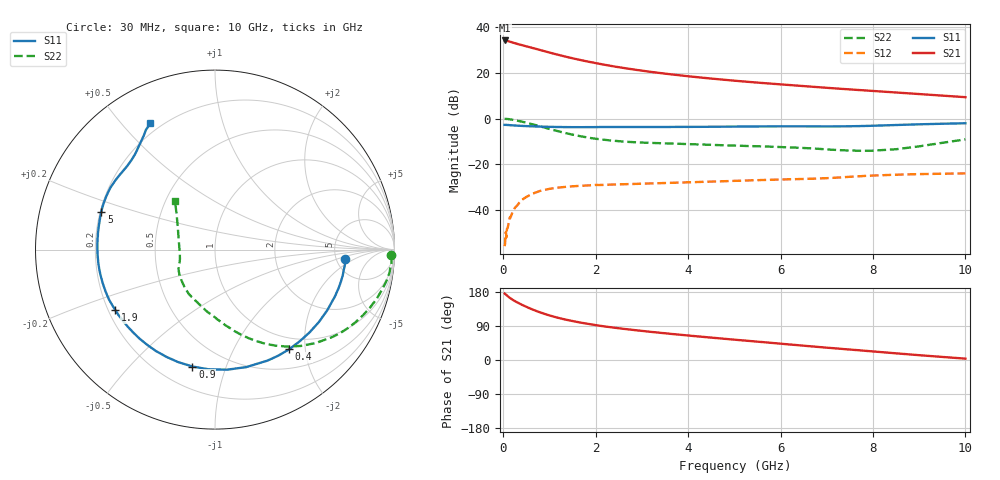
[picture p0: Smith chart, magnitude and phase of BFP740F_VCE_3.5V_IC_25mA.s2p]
! Infineon Technologies  Discrete & RF Semiconductors
! BFP740F
! VCE =  3.5 V,  IC =  25 mA
! Common Emitter S-Parameters:  Oct 2012
# GHz  S  MA  R  50
!  f  S11  S21  S12  S22
! GHz  MAG  ANG  MAG  ANG  MAG  ANG  MAG  ANG
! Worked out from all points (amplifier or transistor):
!   99 points, 30 MHz to 10 GHz, reference 50 ohm
!   highest |S21| = 34.2 dB at 30 MHz (marker M1)
!   |S21| within 3 dB of that: start of sweep to 580.9 MHz
!   unconditionally stable (mu >= 1): 5.609 GHz to end of sweep
!   at 350 MHz: K = 0.17, MSG = 34.7 dB, |S12| = -36.8 dB
!   at 3.5 GHz: K = 0.74, MSG = 24.0 dB, |S12| = -28.2 dB
!   at 10 GHz: K = 1.18, MAG = 14.2 dB, |S12| = -24.0 dB
!   S11 on the Smith chart (normalised r, x): 30 MHz: 6.05, -1.38; 400 MHz: 0.80, -1.70; 900 MHz: 0.33, -0.77; 1.9 GHz: 0.23, -0.27; 5 GHz: 0.20, +0.16; 10 GHz: 0.16, +0.60
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0.03  0.7287 -4.2  51.52 175.5  0.0016 79.2  0.982 -1.8
0.07  0.7262 -10.1  50.91 171.3  0.0025 84.6  0.9819 -5.8
0.11  0.722 -16.0  49.65 167.1  0.0047 78.1  0.9739 -9.5
0.15  0.7167 -21.7  48.28 163.4  0.0066 81.3  0.9598 -12.9
0.2  0.7109 -28.4  46.51 159.3  0.0088 76.4  0.9419 -16.9
0.3  0.7002 -41.3  43.45 152.3  0.0124 70.2  0.9012 -24.1
0.4  0.6922 -53.4  40.8 146.0  0.0163 64.8  0.8576 -30.9
0.6  0.6775 -75.1  36.05 135.0  0.0217 56.2  0.765 -42.9
0.7  0.6724 -84.4  33.84 130.1  0.024 52.0  0.7199 -48.2
0.9  0.6633 -100.9  29.84 121.5  0.0274 45.5  0.6325 -57.8
1.1  0.6561 -114.4  26.36 114.2  0.0299 40.4  0.5565 -66.0
1.3  0.6514 -125.5  23.41 108.0  0.0315 36.8  0.4942 -73.1
1.5  0.6487 -134.6  20.96 102.8  0.0328 33.8  0.4444 -79.3
1.7  0.6483 -142.3  18.92 98.1  0.0337 31.6  0.4047 -85.1
1.9  0.6498 -148.8  17.21 94.1  0.0345 30.2  0.3737 -90.7
2.5  0.6529 -163.5  13.36 83.8  0.0361 27.1  0.3197 -105.1
3.4  0.6549 -178.4  9.943 71.7  0.0385 25.6  0.2891 -119.3
5  0.6676 161.5  6.769 53.7  0.0432 25.8  0.2558 -136.0
5.1  0.6691 160.5  6.635 52.6  0.0434 25.8  0.2539 -137.2
6.7  0.6749 143.2  4.974 35.7  0.0482 26.0  0.2211 -155.7
8.5  0.723 125.3  3.73 17.6  0.0589 23.3  0.2129 162.4
10  0.7901 117.2  2.945 3.6  0.063 18.0  0.3504 129.5
